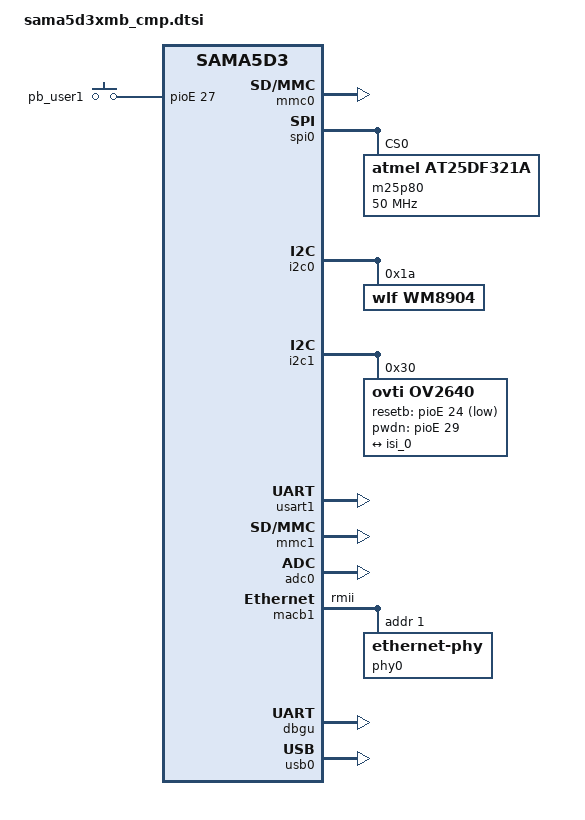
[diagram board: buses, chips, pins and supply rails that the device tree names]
// SPDX-License-Identifier: (GPL-2.0+ OR MIT)
/*
 * sama5d3xmb_cmp.dts - Device Tree file for SAMA5D3x CMP mother board
 *
 *  Copyright (C) 2016 Atmel,
 */
#include "sama5d3xcm_cmp.dtsi"

/ {
	compatible = "atmel,sama5d3xmb-cmp", "atmel,sama5d3xcm-cmp", "atmel,sama5d3", "atmel,sama5";

	ahb {
		apb {
			mmc0: mmc@f0000000 {
				pinctrl-names = "default";
				pinctrl-0 = <&pinctrl_mmc0_clk_cmd_dat0 &pinctrl_mmc0_dat1_3 &pinctrl_mmc0_cd>;
				status = "okay";
				slot@0 {
					reg = <0>;
					bus-width = <4>;
					cd-gpios = <&pioD 17 GPIO_ACTIVE_HIGH>;
				};
			};

			spi0: spi@f0004000 {
				dmas = <0>, <0>;	/*  Do not use DMA for spi0 */

				m25p80@0 {
					compatible = "atmel,at25df321a";
					spi-max-frequency = <50000000>;
					reg = <0>;
				};
			};

			ssc0: ssc@f0008000 {
				atmel,clk-from-rk-pin;
			};

			/*
			 * i2c0 conflicts with ISI:
			 * disable it to allow the use of ISI
			 * can not enable audio when i2c0 disabled
			 */
			i2c0: i2c@f0014000 {
				wm8904: wm8904@1a {
					compatible = "wlf,wm8904";
					reg = <0x1a>;
					clocks = <&pmc PMC_TYPE_SYSTEM 8>;
					clock-names = "mclk";
				};
			};

			i2c1: i2c@f0018000 {
				ov2640: camera@30 {
					compatible = "ovti,ov2640";
					reg = <0x30>;
					pinctrl-names = "default";
					pinctrl-0 = <&pinctrl_pck1_as_isi_mck &pinctrl_sensor_power &pinctrl_sensor_reset>;
					resetb-gpios = <&pioE 24 GPIO_ACTIVE_LOW>;
					pwdn-gpios = <&pioE 29 GPIO_ACTIVE_HIGH>;
					/* use pck1 for the master clock of ov2640 */
					clocks = <&pmc PMC_TYPE_SYSTEM 9>;
					clock-names = "xvclk";
					assigned-clocks = <&pmc PMC_TYPE_SYSTEM 9>;
					assigned-clock-rates = <25000000>;

					port {
						ov2640_0: endpoint {
							remote-endpoint = <&isi_0>;
							bus-width = <8>;
						};
					};
				};
			};

			usart1: serial@f0020000 {
				dmas = <0>, <0>;	/*  Do not use DMA for usart1 */
				pinctrl-names = "default";
				pinctrl-0 = <&pinctrl_usart1 &pinctrl_usart1_rts_cts>;
				status = "okay";
			};

			isi: isi@f0034000 {
				port {
					isi_0: endpoint {
						remote-endpoint = <&ov2640_0>;
						bus-width = <8>;
						vsync-active = <1>;
						hsync-active = <1>;
					};
				};
			};

			mmc1: mmc@f8000000 {
				pinctrl-names = "default";
				pinctrl-0 = <&pinctrl_mmc1_clk_cmd_dat0 &pinctrl_mmc1_dat1_3 &pinctrl_mmc1_cd>;
				status = "okay";
				slot@0 {
					reg = <0>;
					bus-width = <4>;
					cd-gpios = <&pioD 18 GPIO_ACTIVE_HIGH>;
				};
			};

			adc0: adc@f8018000 {
				pinctrl-names = "default", "sleep";
				pinctrl-0 = <
					&pinctrl_adc0_adtrg
					&pinctrl_adc0_ad0
					&pinctrl_adc0_ad1
					&pinctrl_adc0_ad2
					&pinctrl_adc0_ad3
					&pinctrl_adc0_ad4
					>;
				pinctrl-1 = <
					&pinctrl_adc0_adtrg_sleep
					&pinctrl_adc0_ad0_sleep
					&pinctrl_adc0_ad1_sleep
					&pinctrl_adc0_ad2_sleep
					&pinctrl_adc0_ad3_sleep
					&pinctrl_adc0_ad4_sleep
					>;
				status = "okay";
			};

			macb1: ethernet@f802c000 {
				phy-mode = "rmii";

				#address-cells = <1>;
				#size-cells = <0>;
				phy0: ethernet-phy@1 {
					/*interrupt-parent = <&pioE>;*/
					/*interrupts = <30 IRQ_TYPE_EDGE_FALLING>;*/
					reg = <1>;
				};
			};

			pinctrl@fffff200 {
				adc0 {
					pinctrl_adc0_adtrg_sleep: adc0_adtrg_1 {
						atmel,pins =
							<AT91_PIOD 19 AT91_PERIPH_GPIO (AT91_PINCTRL_OUTPUT | AT91_PINCTRL_OUTPUT_VAL(0))>;
					};
					pinctrl_adc0_ad0_sleep: adc0_ad0_1 {
						atmel,pins =
							<AT91_PIOD 20 AT91_PERIPH_GPIO (AT91_PINCTRL_OUTPUT | AT91_PINCTRL_OUTPUT_VAL(0))>;
					};
					pinctrl_adc0_ad1_sleep: adc0_ad1_1 {
						atmel,pins =
							<AT91_PIOD 21 AT91_PERIPH_GPIO (AT91_PINCTRL_OUTPUT | AT91_PINCTRL_OUTPUT_VAL(0))>;
					};
					pinctrl_adc0_ad2_sleep: adc0_ad2_1 {
						atmel,pins =
							<AT91_PIOD 22 AT91_PERIPH_GPIO (AT91_PINCTRL_OUTPUT | AT91_PINCTRL_OUTPUT_VAL(0))>;
					};
					pinctrl_adc0_ad3_sleep: adc0_ad3_1 {
						atmel,pins =
							<AT91_PIOD 23 AT91_PERIPH_GPIO (AT91_PINCTRL_OUTPUT | AT91_PINCTRL_OUTPUT_VAL(0))>;
					};
					pinctrl_adc0_ad4_sleep: adc0_ad4_1 {
						atmel,pins =
							<AT91_PIOD 24 AT91_PERIPH_GPIO (AT91_PINCTRL_OUTPUT | AT91_PINCTRL_OUTPUT_VAL(0))>;
					};
				};

				board {
					pinctrl_gpio_keys: gpio_keys {
						atmel,pins =
							<AT91_PIOE 27 AT91_PERIPH_GPIO AT91_PINCTRL_PULL_UP>;
					};

					pinctrl_mmc0_cd: mmc0_cd {
						atmel,pins =
							<AT91_PIOD 17 AT91_PERIPH_GPIO AT91_PINCTRL_PULL_UP_DEGLITCH>;
					};

					pinctrl_mmc1_cd: mmc1_cd {
						atmel,pins =
							<AT91_PIOD 18 AT91_PERIPH_GPIO AT91_PINCTRL_PULL_UP_DEGLITCH>;
					};

					pinctrl_pck0_as_audio_mck: pck0_as_audio_mck {
						atmel,pins =
							<AT91_PIOD 30 AT91_PERIPH_B AT91_PINCTRL_NONE>;
					};

					pinctrl_pck1_as_isi_mck: pck1_as_isi_mck-0 {
						atmel,pins =
							<AT91_PIOD 31 AT91_PERIPH_B AT91_PINCTRL_NONE>;
					};

					pinctrl_sensor_reset: sensor_reset-0 {
						atmel,pins =
							<AT91_PIOE 24 AT91_PERIPH_GPIO AT91_PINCTRL_NONE>;
					};

					pinctrl_sensor_power: sensor_power-0 {
						atmel,pins =
							<AT91_PIOE 29 AT91_PERIPH_GPIO AT91_PINCTRL_NONE>;
					};

					pinctrl_usba_vbus: usba_vbus {
						atmel,pins =
							<AT91_PIOD 29 AT91_PERIPH_GPIO AT91_PINCTRL_DEGLITCH>;
					};
				};
			};

			dbgu: serial@ffffee00 {
				dmas = <0>, <0>;	/*  Do not use DMA for dbgu */
				status = "okay";
			};

			watchdog@fffffe40 {
				status = "okay";
			};
		};

		usb0: gadget@500000 {
			atmel,vbus-gpio = <&pioD 29 GPIO_ACTIVE_HIGH>;
			pinctrl-names = "default";
			pinctrl-0 = <&pinctrl_usba_vbus>;
			status = "okay";
		};
	};

	sound {
		compatible = "atmel,asoc-wm8904";
		pinctrl-names = "default";
		pinctrl-0 = <&pinctrl_pck0_as_audio_mck>;

		atmel,model = "wm8904 @ SAMA5D3EK";
		atmel,audio-routing =
			"Headphone Jack", "HPOUTL",
			"Headphone Jack", "HPOUTR",
			"IN2L", "Line In Jack",
			"IN2R", "Line In Jack",
			"Mic", "MICBIAS",
			"IN1L", "Mic";

		atmel,ssc-controller = <&ssc0>;
		atmel,audio-codec = <&wm8904>;

		status = "disabled";
	};

	/* Conflict with LCD pins */
	gpio_keys {
		compatible = "gpio-keys";
		status = "okay";

		#address-cells = <1>;
		#size-cells = <0>;
		pinctrl-names = "default";
		pinctrl-0 = <&pinctrl_gpio_keys>;

		pb_user1 {
			label = "pb_user1";
			gpios = <&pioE 27 GPIO_ACTIVE_HIGH>;
			linux,code = <0x100>;
			wakeup-source;
		};
	};
};
